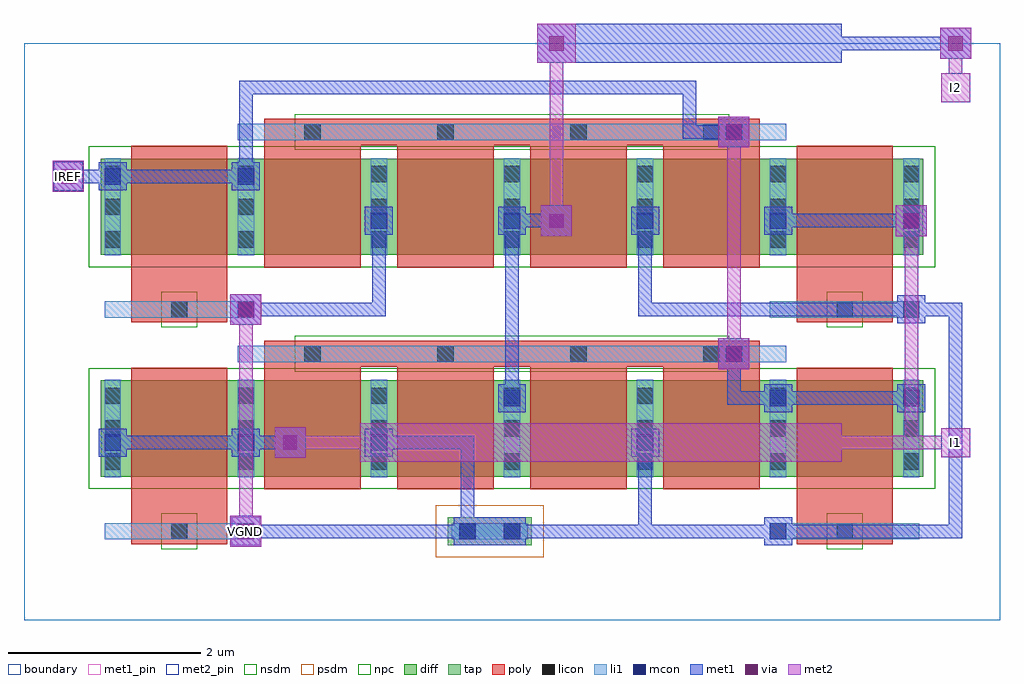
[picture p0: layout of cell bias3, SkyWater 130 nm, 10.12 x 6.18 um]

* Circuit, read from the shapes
.subckt bias3 I1 I2 IREF VGND
XM1 I1 VGND I1 VGND sky130_fd_pr__nfet_01v8 w=1 l=1 m=2
XM2 IREF VGND IREF VGND sky130_fd_pr__nfet_01v8 w=1 l=1 m=2
XM3 VGND IREF I1 VGND sky130_fd_pr__nfet_01v8 w=1 l=1 m=2
XM4 VGND IREF IREF VGND sky130_fd_pr__nfet_01v8 w=1 l=1 m=2
XM5 I2 IREF VGND VGND sky130_fd_pr__nfet_01v8 w=1 l=1 m=4
.ends

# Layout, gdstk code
import gdstk
lib = gdstk.Library(unit=1e-6, precision=1e-09)
def R(c, l, rs):  # rectangles x0, y0, x1, y1
    for r in rs: c.add(gdstk.rectangle(r[:2], r[2:], *l))
def A(c, l, x, y, w, h, nx, ny, dx, dy):  # array of equal rectangles
    R(c, l, [(x+i*dx, y+j*dy, x+i*dx+w, y+j*dy+h) for i in range(nx) for j in range(ny)])
diff = (65, 20)
tap = (65, 44)
poly = (66, 20)
licon = (66, 44)
li1 = (67, 20)
mcon = (67, 44)
met1_pin = (68, 16)
met1 = (68, 20)
via = (68, 44)
met2_pin = (69, 16)
met2 = (69, 20)
nsdm = (93, 44)
psdm = (94, 20)
npc = (95, 20)
boundary = (235, 4)

bias3 = lib.new_cell('bias3')
R(bias3, diff, [(0.795,1.485,9.325,2.485), (0.795,3.785,9.325,4.785)])
R(bias3, tap, [(4.395,0.775,5.265,1.065)])
A(bias3, poly, 2.49, 1.355, 1, 1.405, 4, 2, 1.38, 2.3)
R(bias3, poly, [(1.11,0.785,2.11,1.055), (8.01,0.785,9.01,1.055), (1.11,0.92,2.11,2.615), (8.01,0.92,9.01,2.615), (2.49,2.625,7.63,2.895), (1.11,3.085,2.11,3.355), (8.01,3.085,9.01,3.355), (1.11,3.22,2.11,4.915), (8.01,3.22,9.01,4.915), (2.49,4.925,7.63,5.195)])
A(bias3, licon, 0.835, 1.56, 0.17, 0.17, 7, 3, 1.38, 0.34)
A(bias3, licon, 2.905, 2.675, 0.17, 0.17, 4, 2, 1.38, 2.3)
A(bias3, licon, 0.835, 3.86, 0.17, 0.17, 7, 3, 1.38, 0.34)
R(bias3, licon, [(1.525,0.835,1.695,1.005), (4.515,0.835,4.685,1.005), (4.975,0.835,5.145,1.005), (8.425,0.835,8.595,1.005), (1.525,3.135,1.695,3.305), (8.425,3.135,8.595,3.305)])
A(bias3, li1, 0.835, 1.48, 0.17, 1.01, 7, 2, 1.38, 2.3)
R(bias3, li1, [(0.835,0.835,2.385,1.005), (4.435,0.835,5.225,1.005), (7.735,0.835,9.285,1.005), (2.215,2.675,7.905,2.845), (0.835,3.135,2.385,3.305), (7.735,3.135,9.285,3.305), (2.215,4.975,7.905,5.145)])
A(bias3, mcon, 0.835, 1.755, 0.17, 0.17, 3, 1, 1.38, 0)
A(bias3, mcon, 3.595, 4.055, 0.17, 0.17, 5, 1, 1.38, 0)
R(bias3, mcon, [(2.215,0.835,2.385,1.005), (4.515,0.835,4.685,1.005), (4.975,0.835,5.145,1.005), (7.735,0.835,7.905,1.005), (6.355,1.755,6.525,1.925), (4.975,2.215,5.145,2.385), (7.735,2.215,7.905,2.385), (9.115,2.215,9.285,2.385), (7.275,2.675,7.445,2.845), (2.215,3.135,2.385,3.305), (9.115,3.135,9.285,3.305), (0.835,4.515,1.005,4.685), (2.215,4.515,2.385,4.685), (7.275,4.975,7.445,5.145)])
R(bias3, met1_pin, [(2.155,0.775,2.445,1.065)])
A(bias3, met1, 0.775, 1.695, 0.29, 0.29, 3, 1, 1.38, 0)
A(bias3, met1, 3.535, 3.995, 0.29, 0.29, 5, 1, 1.38, 0)
R(bias3, met1, [(2.14,0.76,2.46,1.08), (2.155,0.775,2.445,1.065), (4.455,0.775,5.205,1.065), (7.675,0.775,7.965,1.065), (2.23,0.85,4.67,0.99), (4.53,0.85,4.67,1.91), (4.53,0.85,4.67,0.99), (4.53,0.85,6.51,0.99), (6.37,0.85,7.89,0.99), (6.37,0.85,6.51,1.91), (7.75,0.85,9.73,0.99), (9.59,0.85,9.73,3.29), (2.6,1.68,2.92,2), (6.295,1.695,6.585,1.985), (0.85,1.77,2.37,1.91), (2.23,1.77,2.83,1.91), (3.61,1.77,4.67,1.91), (4.915,2.155,5.205,2.445), (7.675,2.155,7.965,2.445), (9.055,2.155,9.345,2.445), (4.99,2.23,5.13,4.21), (7.29,2.23,7.89,2.37), (7.29,2.23,7.43,2.83), (7.75,2.23,9.27,2.37), (7.2,2.6,7.52,2.92), (7.215,2.615,7.505,2.905), (2.14,3.06,2.46,3.38), (2.155,3.075,2.445,3.365), (9.055,3.075,9.345,3.365), (2.23,3.15,3.75,3.29), (3.61,3.15,3.75,4.21), (6.37,3.15,6.51,4.21), (6.37,3.15,9.27,3.29), (9.13,3.15,9.73,3.29), (5.36,3.98,5.68,4.3), (9.04,3.98,9.36,4.3), (4.99,4.07,5.59,4.21), (7.75,4.07,9.27,4.21), (0.3,4.44,0.62,4.76), (0.775,4.455,1.065,4.745), (2.155,4.455,2.445,4.745), (0.39,4.53,0.99,4.67), (0.85,4.53,2.37,4.67), (2.23,4.53,2.37,5.59), (7.2,4.9,7.52,5.22), (7.215,4.915,7.505,5.205), (6.83,4.99,7.43,5.13), (6.83,4.99,6.97,5.59), (2.23,5.45,6.97,5.59), (5.32,5.78,5.72,6.18), (5.32,5.78,8.48,6.18), (9.5,5.82,9.82,6.14), (8.21,5.91,9.73,6.05)])
R(bias3, via, [(2.225,0.845,2.375,0.995), (2.685,1.765,2.835,1.915), (7.285,2.685,7.435,2.835), (2.225,3.145,2.375,3.295), (5.445,4.065,5.595,4.215), (9.125,4.065,9.275,4.215), (0.385,4.525,0.535,4.675), (7.285,4.985,7.435,5.135), (5.445,5.905,5.595,6.055), (9.585,5.905,9.735,6.055)])
R(bias3, met2_pin, [(9.51,1.69,9.81,1.99), (0.31,4.45,0.61,4.75), (9.51,5.37,9.81,5.67)])
R(bias3, met2, [(2.14,0.76,2.46,1.08), (2.23,0.85,2.37,3.29), (3.48,1.64,8.48,2.04), (2.6,1.68,2.92,2), (9.51,1.69,9.81,1.99), (2.69,1.77,3.75,1.91), (8.21,1.77,9.73,1.91), (9.13,1.77,9.27,4.21), (9.59,1.77,9.73,1.91), (7.2,2.6,7.52,2.92), (7.29,2.69,7.43,5.13), (2.14,3.06,2.46,3.38), (5.36,3.98,5.68,4.3), (9.04,3.98,9.36,4.3), (5.45,4.07,5.59,6.05), (0.3,4.44,0.62,4.76), (0.31,4.45,0.61,4.75), (0.39,4.53,0.53,4.67), (7.2,4.9,7.52,5.22), (9.51,5.37,9.81,5.67), (9.59,5.45,9.73,5.59), (9.59,5.45,9.73,6.05), (5.32,5.78,5.72,6.18), (9.5,5.82,9.82,6.14)])
R(bias3, nsdm, [(0.67,1.36,9.45,2.61), (0.67,3.66,9.45,4.91)])
R(bias3, psdm, [(4.27,0.65,5.39,1.19)])
R(bias3, npc, [(1.425,0.735,1.795,1.105), (8.325,0.735,8.695,1.105), (2.805,2.575,7.315,2.945), (1.425,3.035,1.795,3.405), (8.325,3.035,8.695,3.405), (2.805,4.875,7.315,5.245)])
R(bias3, boundary, [(0,0,10.12,5.98)])
bias3.add(gdstk.Label('VGND', (2.3,0.92), layer=68, texttype=5))
bias3.add(gdstk.Label('IREF', (0.46,4.6), layer=69, texttype=5))
bias3.add(gdstk.Label('I1', (9.66,1.84), layer=69, texttype=5))
bias3.add(gdstk.Label('I2', (9.66,5.52), layer=69, texttype=5))
bias3.add(gdstk.Label('VGND', (2.3,0.92), layer=68, texttype=16))
bias3.add(gdstk.Label('IREF', (0.46,4.6), layer=69, texttype=16))
bias3.add(gdstk.Label('I1', (9.66,1.84), layer=69, texttype=16))
bias3.add(gdstk.Label('I2', (9.66,5.52), layer=69, texttype=16))

lib.write_gds('bias3.gds')
